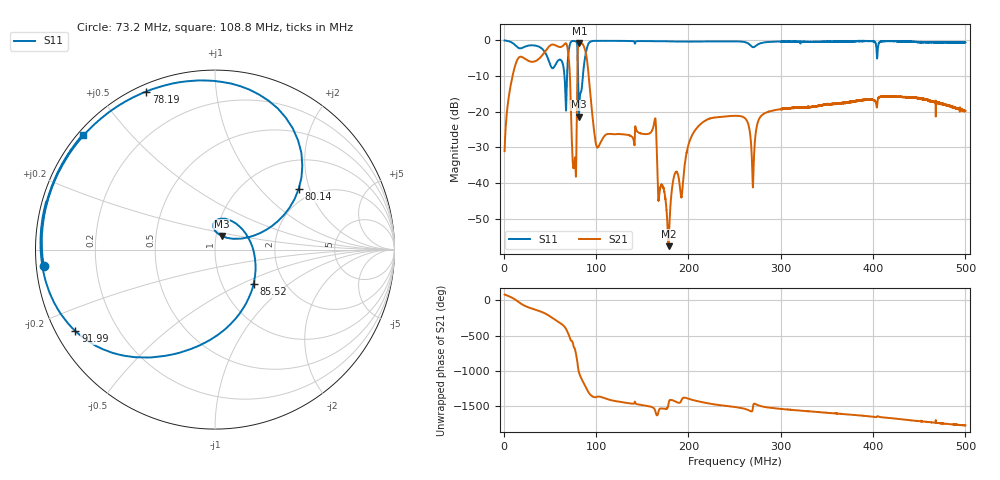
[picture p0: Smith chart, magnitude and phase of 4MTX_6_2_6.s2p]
! NanoVNA-App
! Date: 2026-08-18 21:44:18
! Start: 1MHz Stop: 500MHz Points: 6401
! S-Parameter data: F S11 S21 S12 S22
# Hz S RI R 50
!  Frequency  S11_Real  S11_Imag  S21_Real  S21_Imag  S12_Real  S12_Imag  S22_Real  S22_Imag
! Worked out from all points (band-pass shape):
!   6401 points, 1 MHz to 500 MHz, reference 50 ohm
!   highest |S21| = -0.81 dB at 82.09 MHz (marker M1); lowest = -57.6 dB at 178.5 MHz (marker M2)
!   |S21| within 3 dB of the highest: 43.09 MHz to 69.96 MHz (26.87 MHz wide, 47.5 % of centre); 80.13 MHz to 89.14 MHz (9.009 MHz wide, 10.6 % of centre)
!   lowest |S11| = -21.4 dB at 81.46 MHz (marker M3), VSWR 1.19, Z = 53.2 + j8.16 ohm
!   |S11| at or under -10 dB: 65.83 MHz to 68.62 MHz (2.796 MHz wide, 4.16 % of centre); 80.59 MHz to 85.78 MHz (5.198 MHz wide, 6.25 % of centre)
!   S12 and S22 are empty: the file has one direction only
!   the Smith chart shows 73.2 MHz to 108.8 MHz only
!   S11 on the Smith chart (normalised r, x): 73.2 MHz: 0.02, -0.05; 78.19 MHz: 0.03, +0.65; 80.14 MHz: 1.67, +1.70; 85.52 MHz: 1.40, -0.59; 91.99 MHz: 0.06, -0.27; 108.8 MHz: 0.01, +0.37
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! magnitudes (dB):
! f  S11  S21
! 1 MHz  -0.1  -31.0
! 14.72 MHz  -2.0  -5.5
! 51.99 MHz  -7.7  -1.3
! 68.29 MHz  -12.7  -1.2
! 73.2 MHz  -0.4  -23.2
! 78.19 MHz  -0.3  -38.2
! 80.14 MHz  -4.8  -3.7
! 81.46 MHz  -21.4  -0.9
! 82.09 MHz  -17.5  -0.8
! 84.19 MHz  -14.1  -0.9
! 85.52 MHz  -10.8  -1.1
! 91.99 MHz  -0.9  -9.8
! 108.8 MHz  -0.2  -26.9
! 162.7 MHz  -0.3  -23.5
! 167.4 MHz  -0.3  -44.2
! 178.5 MHz  -0.3  -57.6
! 206.1 MHz  -0.4  -25.6
! 250.5 MHz  -0.4  -21.2
! 269.9 MHz  -2.0  -41.2
! 333.7 MHz  -0.5  -18.6
! 416.9 MHz  -0.3  -15.7
! 500 MHz  -0.6  -19.8
